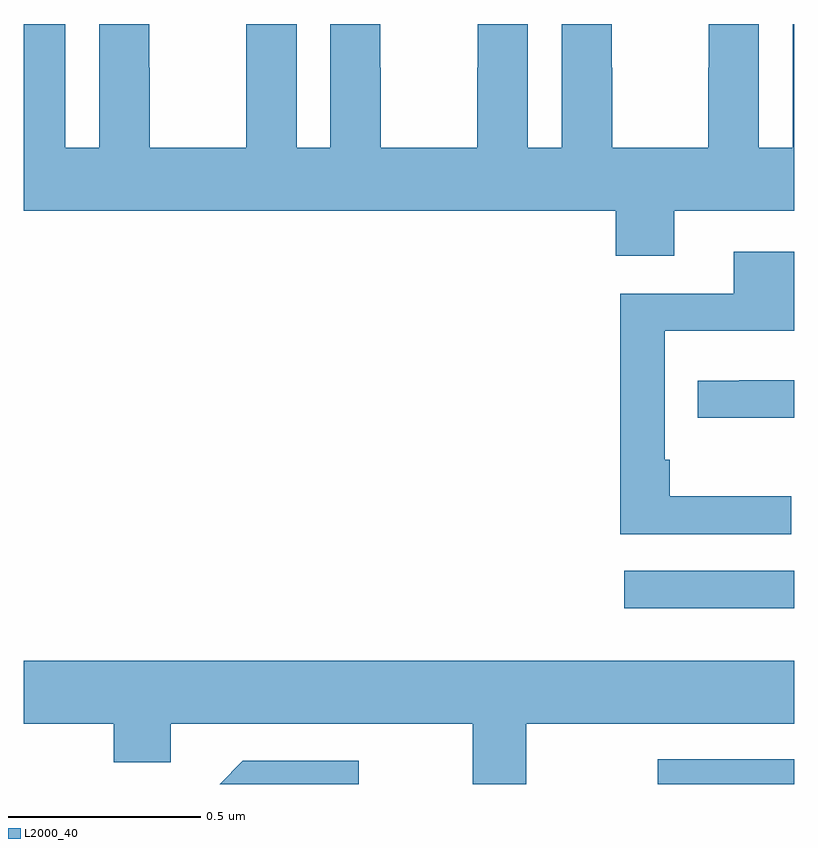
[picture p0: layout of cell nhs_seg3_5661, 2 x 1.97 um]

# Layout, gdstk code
import gdstk
lib = gdstk.Library(unit=1e-6, precision=1e-09)
def R(c, l, rs):  # rectangles x0, y0, x1, y1
    for r in rs: c.add(gdstk.rectangle(r[:2], r[2:], *l))
def P(c, l, *ps):  # polygons
    for p in ps: c.add(gdstk.Polygon(p, *l))
L2000_40 = (2000, 40)

nhs_seg3_5661 = lib.new_cell('nhs_seg3_5661')
R(nhs_seg3_5661, L2000_40, [(182.646,727.4,183,727.464), (182.559,727.856,183,727.953)])
P(nhs_seg3_5661, L2000_40, [(182.689,728.888),(183,728.888),(183,729.373),(182.996,729.373),(182.996,729.052),(182.908,729.052),(182.908,729.373),(182.778,729.373),(182.778,729.26),(182.777,729.26),(182.777,729.052),(182.527,729.052),(182.527,729.26),(182.526,729.26),(182.526,729.373),(182.396,729.373),(182.396,729.052),(182.308,729.052),(182.308,729.373),(182.178,729.373),(182.178,729.26),(182.177,729.26),(182.177,729.052),(181.927,729.052),(181.927,729.26),(181.926,729.26),(181.926,729.373),(181.796,729.373),(181.796,729.052),(181.708,729.052),(181.708,729.373),(181.578,729.373),(181.578,729.26),(181.577,729.26),(181.577,729.052),(181.327,729.052),(181.327,729.26),(181.326,729.26),(181.326,729.373),(181.196,729.373),(181.196,729.052),(181.108,729.052),(181.108,729.373),(181,729.373),(181,728.888),(182.537,728.888),(182.537,728.771),(182.689,728.771)],
  [(182.992,728.147),(182.677,728.147),(182.677,728.242),(182.664,728.242),(182.664,728.577),(183,728.577),(183,728.782),(182.843,728.782),(182.843,728.673),(182.548,728.673),(182.548,728.049),(182.992,728.049)],
  [(183,728.448),(182.857,728.448),(182.857,728.447),(182.749,728.447),(182.749,728.351),(183,728.351)],
  [(182.305,727.556),(183,727.556),(183,727.72),(181,727.72),(181,727.556),(181.234,727.556),(181.234,727.457),(181.381,727.457),(181.381,727.556),(182.165,727.556),(182.165,727.4),(182.305,727.4)],
  [(181.87,727.461),(181.569,727.461),(181.509,727.4),(181.87,727.4)])

lib.write_gds('nhs_seg3_5661.gds')
